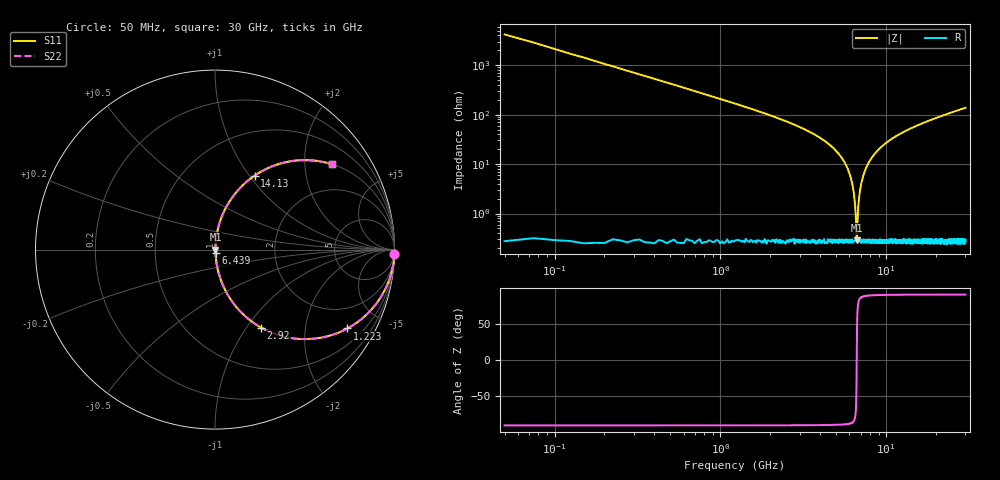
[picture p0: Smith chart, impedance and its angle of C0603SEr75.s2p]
!	AVX Thin Film Operation 	Date: April 2014
!	Description: Accu-P® Series, Thin Film  SMD RF Capacitor
!	Part Number: 06031JR75PBSTR
# MHZ S MA R 50
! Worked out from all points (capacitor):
!   1201 points, 50 MHz to 30 GHz, reference 50 ohm
!   read as one part in series: C = 750 fF near 199.8 MHz
!   lowest |Z| = 291 mohm at 6.639 GHz (marker M1)
!   series resonance near 6.636 GHz, so ESL is about 770 pH
!   S11 on the Smith chart (normalised r, x): 50 MHz: -0, -85; 1.223 GHz: 1.01, -3.35; 2.92 GHz: 1.00, -1.17; 6.439 GHz: 1.01, -0.04; 14.13 GHz: 1.01, +1.06; 30 GHz: 1.01, +2.75
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50  1 -1.4  0.024 88.6  0.024 88.6  1 -1.4
274.625  0.992 -7.4  0.129 82.6  0.129 82.6  0.992 -7.4
449.333  0.978 -12.0  0.208 78.0  0.208 78.0  0.978 -12.0
1223.042  0.858 -30.8  0.512 59.1  0.512 59.1  0.858 -30.8
2920.208  0.505 -59.4  0.861 30.3  0.861 30.3  0.505 -59.4
5041.667  0.175 -79.0  0.982 10.1  0.982 10.1  0.175 -79.0
5990.083  0.065 -83.8  0.995 3.7  0.995 3.7  0.065 -83.8
6264.625  0.037 -83.6  0.997 2.1  0.997 2.1  0.037 -83.6
6439.333  0.019 -80.7  0.997 1.1  0.997 1.1  0.019 -80.7
6539.167  0.009754 -73.0  0.997 0.5  0.997 0.5  0.009754 -73.0
6639  0.00278 6.4  0.997 -0.0  0.997 -0.0  0.00278 6.4
6738.833  0.01 73.7  0.997 -0.6  0.997 -0.6  0.01 73.7
6863.625  0.022 81.5  0.997 -1.2  0.997 -1.2  0.022 81.5
7013.375  0.035 83.5  0.997 -2.0  0.997 -2.0  0.035 83.5
7562.458  0.083 83.3  0.994 -4.8  0.994 -4.8  0.083 83.3
8535.833  0.16 79.8  0.984 -9.2  0.984 -9.2  0.16 79.8
10058.29  0.263 74.2  0.962 -15.3  0.962 -15.3  0.263 74.2
14126.5  0.468 61.8  0.881 -27.9  0.881 -27.9  0.468 61.8
15025  0.503 59.6  0.862 -30.2  0.862 -30.2  0.503 59.6
20016.67  0.65 49.2  0.757 -40.6  0.757 -40.6  0.65 49.2
25033.29  0.746 41.7  0.665 -48.2  0.665 -48.2  0.746 41.7
30000  0.808 36.0  0.588 -53.9  0.588 -53.9  0.808 36.0
